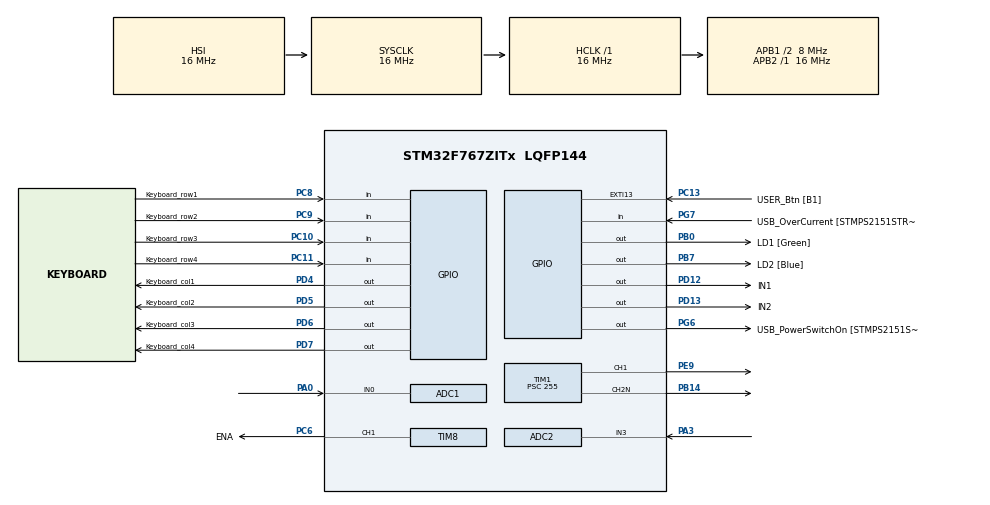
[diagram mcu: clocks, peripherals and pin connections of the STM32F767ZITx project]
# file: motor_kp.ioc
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ADC1.Channel-0\#ChannelRegularConversion=ADC_CHANNEL_0
ADC1.NbrOfConversionFlag=1
ADC1.Rank-0\#ChannelRegularConversion=1
ADC1.Resolution=ADC_RESOLUTION_12B
ADC1.SamplingTime-0\#ChannelRegularConversion=ADC_SAMPLETIME_3CYCLES
ADC1.master=1
ADC2.Channel-0\#ChannelRegularConversion=ADC_CHANNEL_3
ADC2.NbrOfConversionFlag=1
ADC2.Rank-0\#ChannelRegularConversion=1
ADC2.SamplingTime-0\#ChannelRegularConversion=ADC_SAMPLETIME_3CYCLES
Mcu.Family=STM32F7
Mcu.Name=STM32F767ZITx
Mcu.Package=LQFP144
NVIC.ADC_IRQn=true\:0\:0\:false\:false\:true\:true\:true\:true
NVIC.PriorityGroup=NVIC_PRIORITYGROUP_4
NVIC.TIM6_DAC_IRQn=true\:0\:0\:false\:false\:true\:true\:true\:true
PA0/WKUP.Signal=ADCx_IN0
PA1.GPIO_Label=RMII_REF_CLK [LAN8742A-CZ-TR_REFCLK0]
PA1.Signal=ETH_REF_CLK
PA10.GPIO_Label=USB_ID
PA10.Signal=USB_OTG_FS_ID
PA11.GPIO_Label=USB_DM
PA11.Signal=USB_OTG_FS_DM
PA12.GPIO_Label=USB_DP
PA12.Signal=USB_OTG_FS_DP
PA13.GPIO_Label=TMS
PA13.Signal=SYS_JTMS-SWDIO
PA14.GPIO_Label=TCK
PA14.Signal=SYS_JTCK-SWCLK
PA2.GPIO_Label=RMII_MDIO [LAN8742A-CZ-TR_MDIO]
PA2.Signal=ETH_MDIO
PA3.Signal=ADCx_IN3
PA7.GPIO_Label=RMII_CRS_DV [LAN8742A-CZ-TR_CRS_DV]
PA7.Signal=ETH_CRS_DV
PA8.GPIO_Label=USB_SOF [TP1]
PA8.Signal=USB_OTG_FS_SOF
PA9.GPIO_Label=USB_VBUS
PA9.Signal=USB_OTG_FS_VBUS
PB0.GPIO_Label=LD1 [Green]
PB0.PinState=GPIO_PIN_SET
PB0.Signal=GPIO_Output
PB14.Mode=PWM Generation2 CH2N
PB14.Signal=TIM1_CH2N
PB3.GPIO_Label=SW0
PB3.Signal=SYS_JTDO-SWO
PB7.GPIO_Label=LD2 [Blue]
PB7.Signal=GPIO_Output
PC1.GPIO_Label=RMII_MDC [LAN8742A-CZ-TR_MDC]
PC1.Signal=ETH_MDC
PC10.GPIO_Label=Keyboard_row3
PC10.Signal=GPIO_Input
PC11.GPIO_Label=Keyboard_row4
PC11.Signal=GPIO_Input
PC13.GPIO_Label=USER_Btn [B1]
PC13.Signal=GPXTI13
PC14/OSC32_IN.Signal=RCC_OSC32_IN
PC15/OSC32_OUT.Signal=RCC_OSC32_OUT
PC4.GPIO_Label=RMII_RXD0 [LAN8742A-CZ-TR_RXD0]
PC4.Signal=ETH_RXD0
PC5.GPIO_Label=RMII_RXD1 [LAN8742A-CZ-TR_RXD1]
PC5.Signal=ETH_RXD1
PC6.GPIO_Label=ENA
PC6.Signal=S_TIM8_CH1
PC8.GPIO_Label=Keyboard_row1
PC8.Signal=GPIO_Input
PC9.GPIO_Label=Keyboard_row2
PC9.Signal=GPIO_Input
PD12.GPIO_Label=IN1
PD12.Signal=GPIO_Output
PD13.GPIO_Label=IN2
PD13.Signal=GPIO_Output
PD4.GPIO_Label=Keyboard_col1
PD4.Signal=GPIO_Output
PD5.GPIO_Label=Keyboard_col2
PD5.Signal=GPIO_Output
PD6.GPIO_Label=Keyboard_col3
PD6.Signal=GPIO_Output
PD7.GPIO_Label=Keyboard_col4
PD7.Signal=GPIO_Output
PD8.GPIO_Label=STLK_RX [STM32F103CBT6_PA3]
PD8.Signal=USART3_TX
PD9.GPIO_Label=STLK_TX [STM32F103CBT6_PA2]
PD9.Signal=USART3_RX
PE9.Signal=S_TIM1_CH1
PG11.GPIO_Label=RMII_TX_EN [LAN8742A-CZ-TR_TXEN]
PG11.Signal=ETH_TX_EN
PG13.GPIO_Label=RMII_TXD0 [LAN8742A-CZ-TR_TXD0]
PG13.Signal=ETH_TXD0
PG6.GPIO_Label=USB_PowerSwitchOn [STMPS2151STR_EN]
PG6.Signal=GPIO_Output
PG7.GPIO_Label=USB_OverCurrent [STMPS2151STR_FAULT]
PG7.Signal=GPIO_Input
PH0/OSC_IN.GPIO_Label=MCO [STM32F103CBT6_PA8]
PH0/OSC_IN.Signal=RCC_OSC_IN
PH1/OSC_OUT.Signal=RCC_OSC_OUT
ProjectManager.HeapSize=0x200
ProjectManager.StackSize=0x400
ProjectManager.TargetToolchain=STM32CubeIDE
RCC.48MHZClocksFreq_Value=24000000
RCC.AHBFreq_Value=16000000
RCC.APB1CLKDivider=RCC_HCLK_DIV2
RCC.APB1Freq_Value=8000000
RCC.APB1TimFreq_Value=16000000
RCC.APB2Freq_Value=16000000
RCC.APB2TimFreq_Value=16000000
RCC.CortexFreq_Value=16000000
RCC.HCLKFreq_Value=16000000
RCC.HSE_VALUE=16000000
RCC.HSI_VALUE=16000000
RCC.LSE_VALUE=32768
RCC.PLLMUL=RCC_PLL_MUL9
RCC.PRESCALERUSB=RCC_USBCLKSOURCE_PLL_DIV1_5
RCC.SYSCLKFreq_VALUE=16000000
RCC.SYSCLKSourceVirtual=RCC_SYSCLKSOURCE_PLLCLK
RCC.USBFreq_Value=96000000
RCC.VCOOutputFreq_Value=192000000
SH.ADCx_IN0.0=ADC1_IN0,IN0
SH.ADCx_IN3.0=ADC2_IN3,IN3
SH.S_TIM1_CH1.0=TIM1_CH1,PWM Generation1 CH1
SH.S_TIM8_CH1.0=TIM8_CH1,PWM Generation1 CH1
TIM1.Channel-PWM\ Generation1\ CH1=TIM_CHANNEL_1
TIM1.Channel-PWM\ Generation2\ CH2N=TIM_CHANNEL_2
TIM1.Period=62499
TIM1.Prescaler=255
TIM6.Period=2000
TIM6.Prescaler=7999
TIM8.Channel-PWM\ Generation1\ CH1=TIM_CHANNEL_1
TIM8.Period=2000
TIM8.Prescaler=79
VP_TIM1_VS_ClockSourceINT.Mode=Internal
VP_TIM6_VS_ClockSourceINT.Mode=Enable_Timer
VP_TIM8_VS_ClockSourceINT.Mode=Internal
board=NUCLEO-F767ZI

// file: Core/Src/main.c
/* USER CODE BEGIN Header */
/**
  ******************************************************************************
  * @file           : main.c
  * @brief          : Main program body
  ******************************************************************************
  * @attention
  *
  * Copyright (c) 2024 STMicroelectronics.
  * All rights reserved.
  *
  * This software is licensed under terms that can be found in the LICENSE file
  * in the root directory of this software component.
  * If no LICENSE file comes with this software, it is provided AS-IS.
  *
  ******************************************************************************
  */
/* USER CODE END Header */
#include "main.h"

/* USER CODE BEGIN Includes */
extern num1;
/* USER CODE END Includes */

ADC_HandleTypeDef hadc1;
ADC_HandleTypeDef hadc2;

TIM_HandleTypeDef htim1;
TIM_HandleTypeDef htim6;
TIM_HandleTypeDef htim8;

/* USER CODE BEGIN PV */
uint32_t ADC_RES = 0; // Код АЦП
enum gear {
	engine = 10,
	p_mode = 11,
	r_mode = 12,
	d_mode = 13,
	d_safety_belt = 7,
	r_safety_belt = 8,
	recover_air_bag = 1,
	charge = 0
}state;

struct motor {
	unsigned int engine : 1;
	unsigned int p_mode : 1;
	unsigned int r_mode : 1;
	unsigned int d_mode : 1;
	unsigned int d_safety_belt : 1;
	unsigned int r_safety_belt : 1;
	unsigned int air_bag : 1;
	unsigned int charge : 1;
}state_motor;

int speed = 0;
int rpm = 0;

double rasst = 0;
/* USER CODE END PV */

void SystemClock_Config(void);
static void MX_GPIO_Init(void);
static void MX_ADC1_Init(void);
static void MX_TIM8_Init(void);
static void MX_TIM6_Init(void);
static void MX_ADC2_Init(void);
static void MX_TIM1_Init(void);

int main(void)
{

  /* MCU Configuration--------------------------------------------------------*/

  /* Reset of all peripherals, Initializes the Flash interface and the Systick. */
  HAL_Init();

  /* Configure the system clock */
  SystemClock_Config();

  /* Initialize all configured peripherals */
  MX_GPIO_Init();
  MX_ADC1_Init();
  MX_TIM8_Init();
  MX_TIM6_Init();
  MX_ADC2_Init();
  MX_TIM1_Init();
  /* USER CODE BEGIN 2 */
  HAL_TIM_Base_Start_IT(&htim6);
  HAL_TIM_PWM_Start(&htim8, TIM_CHANNEL_1);
  HAL_TIM_PWM_Start(&htim1, TIM_CHANNEL_1);
  TIM1->CCR2 = TIM1-> ARR/2;
  TIM1->CCR1 = TIM1-> ARR/2;
  HAL_GPIO_WritePin(IN1_GPIO_Port, IN1_Pin, 0);
  HAL_GPIO_WritePin(IN2_GPIO_Port, IN2_Pin, 0);
  state_motor.p_mode = 1;
  state_motor.air_bag = 1;
  /* USER CODE END 2 */

  /* Infinite loop */
  /* USER CODE BEGIN WHILE */

  while (1)
  {
	  state = keyboard_process();

	  switch (state){
			case engine:
				if (state_motor.p_mode == 1 && state_motor.charge == 0){
					state_motor.engine = !state_motor.engine;
					HAL_GPIO_TogglePin(LD2_GPIO_Port, LD2_Pin);
					//HAL_GPIO_TogglePin(IN1_GPIO_Port, IN1_Pin);
					//HAL_GPIO_WritePin(IN2_GPIO_Port, IN2_Pin, 0);
				}
				num1 = 5;
				break;
			case p_mode:
				if (state_motor.p_mode == 0 &&( state_motor.d_mode != 0 | state_motor.r_mode)){
					state_motor.p_mode = 1;
					HAL_GPIO_WritePin(IN1_GPIO_Port, IN1_Pin, 0);
					HAL_GPIO_WritePin(IN2_GPIO_Port, IN2_Pin, 0);
					state_motor.r_mode = 0;
					state_motor.d_mode = 0;
				}
				num1 = 5;
				break;
			case r_mode:
				if (state_motor.engine == 1){
					HAL_GPIO_WritePin(IN1_GPIO_Port, IN1_Pin, 0);
					HAL_GPIO_WritePin(IN2_GPIO_Port, IN2_Pin, 1);
					state_motor.p_mode = 0;
					state_motor.r_mode = 1;
					state_motor.d_mode = 0;
					state_motor.charge = 0;
				}
				num1 = 5;
				break;
			case d_mode:
				if (state_motor.engine == 1){
					HAL_GPIO_WritePin(IN1_GPIO_Port, IN1_Pin, 1);
					HAL_GPIO_WritePin(IN2_GPIO_Port, IN2_Pin, 0);
					state_motor.p_mode = 0;
					state_motor.d_mode = 1;
					state_motor.r_mode = 0;
					state_motor.charge = 0;
				}
				num1 = 5;
				break;
			case r_safety_belt:
				state_motor.r_safety_belt = !state_motor.r_safety_belt;
				num1 = 5;
				break;

			case d_safety_belt:
				state_motor.d_safety_belt = !state_motor.d_safety_belt;
				num1 = 5;
				break;
			case charge:
				if (state_motor.p_mode == 1 && state_motor.engine == 0){
					state_motor.charge = !state_motor.charge;
				}
				num1 = 5;
				break;
			case recover_air_bag:
				if (state_motor.engine == 0){
					state_motor.air_bag = 1;
				}
				num1 = 5;
				break;
	  }
	  adc_process();
	  podushka();
	  HAL_Delay(100);
    /* USER CODE END WHILE */

  }
}

void SystemClock_Config(void)
{
  RCC_OscInitTypeDef RCC_OscInitStruct = {0};
  RCC_ClkInitTypeDef RCC_ClkInitStruct = {0};

  /** Configure the main internal regulator output voltage
  */
  __HAL_RCC_PWR_CLK_ENABLE();
  __HAL_PWR_VOLTAGESCALING_CONFIG(PWR_REGULATOR_VOLTAGE_SCALE3);

  /** Initializes the RCC Oscillators according to the specified parameters
  * in the RCC_OscInitTypeDef structure.
  */
  RCC_OscInitStruct.OscillatorType = RCC_OSCILLATORTYPE_HSI;
  RCC_OscInitStruct.HSIState = RCC_HSI_ON;
  RCC_OscInitStruct.HSICalibrationValue = RCC_HSICALIBRATION_DEFAULT;
  RCC_OscInitStruct.PLL.PLLState = RCC_PLL_NONE;
  if (HAL_RCC_OscConfig(&RCC_OscInitStruct) != HAL_OK)
  {
    Error_Handler();
  }

  /** Initializes the CPU, AHB and APB buses clocks
  */
  RCC_ClkInitStruct.ClockType = RCC_CLOCKTYPE_HCLK|RCC_CLOCKTYPE_SYSCLK
                              |RCC_CLOCKTYPE_PCLK1|RCC_CLOCKTYPE_PCLK2;
  RCC_ClkInitStruct.SYSCLKSource = RCC_SYSCLKSOURCE_HSI;
  RCC_ClkInitStruct.AHBCLKDivider = RCC_SYSCLK_DIV1;
  RCC_ClkInitStruct.APB1CLKDivider = RCC_HCLK_DIV2;
  RCC_ClkInitStruct.APB2CLKDivider = RCC_HCLK_DIV1;

  if (HAL_RCC_ClockConfig(&RCC_ClkInitStruct, FLASH_LATENCY_0) != HAL_OK)
  {
    Error_Handler();
  }
}

static void MX_ADC1_Init(void)
{

  ADC_ChannelConfTypeDef sConfig = {0};

  /** Configure the global features of the ADC (Clock, Resolution, Data Alignment and number of conversion)
  */
  hadc1.Instance = ADC1;
  hadc1.Init.ClockPrescaler = ADC_CLOCK_SYNC_PCLK_DIV2;
  hadc1.Init.Resolution = ADC_RESOLUTION_12B;
  hadc1.Init.ScanConvMode = ADC_SCAN_DISABLE;
  hadc1.Init.ContinuousConvMode = DISABLE;
  hadc1.Init.DiscontinuousConvMode = DISABLE;
  hadc1.Init.ExternalTrigConvEdge = ADC_EXTERNALTRIGCONVEDGE_NONE;
  hadc1.Init.ExternalTrigConv = ADC_SOFTWARE_START;
  hadc1.Init.DataAlign = ADC_DATAALIGN_RIGHT;
  hadc1.Init.NbrOfConversion = 1;
  hadc1.Init.DMAContinuousRequests = DISABLE;
  hadc1.Init.EOCSelection = ADC_EOC_SINGLE_CONV;
  if (HAL_ADC_Init(&hadc1) != HAL_OK)
  {
    Error_Handler();
  }

  /** Configure for the selected ADC regular channel its corresponding rank in the sequencer and its sample time.
  */
  sConfig.Channel = ADC_CHANNEL_0;
  sConfig.Rank = ADC_REGULAR_RANK_1;
  sConfig.SamplingTime = ADC_SAMPLETIME_3CYCLES;
  if (HAL_ADC_ConfigChannel(&hadc1, &sConfig) != HAL_OK)
  {
    Error_Handler();
  }

}

static void MX_ADC2_Init(void)
{

  ADC_ChannelConfTypeDef sConfig = {0};

  /** Configure the global features of the ADC (Clock, Resolution, Data Alignment and number of conversion)
  */
  hadc2.Instance = ADC2;
  hadc2.Init.ClockPrescaler = ADC_CLOCK_SYNC_PCLK_DIV2;
  hadc2.Init.Resolution = ADC_RESOLUTION_12B;
  hadc2.Init.ScanConvMode = ADC_SCAN_DISABLE;
  hadc2.Init.ContinuousConvMode = DISABLE;
  hadc2.Init.DiscontinuousConvMode = DISABLE;
  hadc2.Init.ExternalTrigConvEdge = ADC_EXTERNALTRIGCONVEDGE_NONE;
  hadc2.Init.ExternalTrigConv = ADC_SOFTWARE_START;
  hadc2.Init.DataAlign = ADC_DATAALIGN_RIGHT;
  hadc2.Init.NbrOfConversion = 1;
  hadc2.Init.DMAContinuousRequests = DISABLE;
  hadc2.Init.EOCSelection = ADC_EOC_SINGLE_CONV;
  if (HAL_ADC_Init(&hadc2) != HAL_OK)
  {
    Error_Handler();
  }

  /** Configure for the selected ADC regular channel its corresponding rank in the sequencer and its sample time.
  */
  sConfig.Channel = ADC_CHANNEL_3;
  sConfig.Rank = ADC_REGULAR_RANK_1;
  sConfig.SamplingTime = ADC_SAMPLETIME_3CYCLES;
  if (HAL_ADC_ConfigChannel(&hadc2, &sConfig) != HAL_OK)
  {
    Error_Handler();
  }

}

static void MX_TIM1_Init(void)
{

  TIM_ClockConfigTypeDef sClockSourceConfig = {0};
  TIM_MasterConfigTypeDef sMasterConfig = {0};
  TIM_OC_InitTypeDef sConfigOC = {0};
  TIM_BreakDeadTimeConfigTypeDef sBreakDeadTimeConfig = {0};

  htim1.Instance = TIM1;
  htim1.Init.Prescaler = 255;
  htim1.Init.CounterMode = TIM_COUNTERMODE_UP;
  htim1.Init.Period = 62499;
  htim1.Init.ClockDivision = TIM_CLOCKDIVISION_DIV1;
  htim1.Init.RepetitionCounter = 0;
  htim1.Init.AutoReloadPreload = TIM_AUTORELOAD_PRELOAD_DISABLE;
  if (HAL_TIM_Base_Init(&htim1) != HAL_OK)
  {
    Error_Handler();
  }
  sClockSourceConfig.ClockSource = TIM_CLOCKSOURCE_INTERNAL;
  if (HAL_TIM_ConfigClockSource(&htim1, &sClockSourceConfig) != HAL_OK)
  {
    Error_Handler();
  }
  if (HAL_TIM_PWM_Init(&htim1) != HAL_OK)
  {
    Error_Handler();
  }
  sMasterConfig.MasterOutputTrigger = TIM_TRGO_RESET;
  sMasterConfig.MasterOutputTrigger2 = TIM_TRGO2_RESET;
  sMasterConfig.MasterSlaveMode = TIM_MASTERSLAVEMODE_DISABLE;
  if (HAL_TIMEx_MasterConfigSynchronization(&htim1, &sMasterConfig) != HAL_OK)
  {
    Error_Handler();
  }
  sConfigOC.OCMode = TIM_OCMODE_PWM1;
  sConfigOC.Pulse = 0;
  sConfigOC.OCPolarity = TIM_OCPOLARITY_HIGH;
  sConfigOC.OCNPolarity = TIM_OCNPOLARITY_HIGH;
  sConfigOC.OCFastMode = TIM_OCFAST_DISABLE;
  sConfigOC.OCIdleState = TIM_OCIDLESTATE_RESET;
  sConfigOC.OCNIdleState = TIM_OCNIDLESTATE_RESET;
  if (HAL_TIM_PWM_ConfigChannel(&htim1, &sConfigOC, TIM_CHANNEL_1) != HAL_OK)
  {
    Error_Handler();
  }
  if (HAL_TIM_PWM_ConfigChannel(&htim1, &sConfigOC, TIM_CHANNEL_2) != HAL_OK)
  {
    Error_Handler();
  }
  sBreakDeadTimeConfig.OffStateRunMode = TIM_OSSR_DISABLE;
  sBreakDeadTimeConfig.OffStateIDLEMode = TIM_OSSI_DISABLE;
  sBreakDeadTimeConfig.LockLevel = TIM_LOCKLEVEL_OFF;
  sBreakDeadTimeConfig.DeadTime = 0;
  sBreakDeadTimeConfig.BreakState = TIM_BREAK_DISABLE;
  sBreakDeadTimeConfig.BreakPolarity = TIM_BREAKPOLARITY_HIGH;
  sBreakDeadTimeConfig.BreakFilter = 0;
  sBreakDeadTimeConfig.Break2State = TIM_BREAK2_DISABLE;
  sBreakDeadTimeConfig.Break2Polarity = TIM_BREAK2POLARITY_HIGH;
  sBreakDeadTimeConfig.Break2Filter = 0;
  sBreakDeadTimeConfig.AutomaticOutput = TIM_AUTOMATICOUTPUT_DISABLE;
  if (HAL_TIMEx_ConfigBreakDeadTime(&htim1, &sBreakDeadTimeConfig) != HAL_OK)
  {
    Error_Handler();
  }
  HAL_TIM_MspPostInit(&htim1);

}

static void MX_TIM6_Init(void)
{

  TIM_MasterConfigTypeDef sMasterConfig = {0};

  htim6.Instance = TIM6;
  htim6.Init.Prescaler = 7999;
  htim6.Init.CounterMode = TIM_COUNTERMODE_UP;
  htim6.Init.Period = 2000;
  htim6.Init.AutoReloadPreload = TIM_AUTORELOAD_PRELOAD_DISABLE;
  if (HAL_TIM_Base_Init(&htim6) != HAL_OK)
  {
    Error_Handler();
  }
  sMasterConfig.MasterOutputTrigger = TIM_TRGO_RESET;
  sMasterConfig.MasterSlaveMode = TIM_MASTERSLAVEMODE_DISABLE;
  if (HAL_TIMEx_MasterConfigSynchronization(&htim6, &sMasterConfig) != HAL_OK)
  {
    Error_Handler();
  }

}

static void MX_TIM8_Init(void)
{

  TIM_ClockConfigTypeDef sClockSourceConfig = {0};
  TIM_MasterConfigTypeDef sMasterConfig = {0};
  TIM_OC_InitTypeDef sConfigOC = {0};
  TIM_BreakDeadTimeConfigTypeDef sBreakDeadTimeConfig = {0};

  htim8.Instance = TIM8;
  htim8.Init.Prescaler = 79;
  htim8.Init.CounterMode = TIM_COUNTERMODE_UP;
  htim8.Init.Period = 2000;
  htim8.Init.ClockDivision = TIM_CLOCKDIVISION_DIV1;
  htim8.Init.RepetitionCounter = 0;
  htim8.Init.AutoReloadPreload = TIM_AUTORELOAD_PRELOAD_DISABLE;
  if (HAL_TIM_Base_Init(&htim8) != HAL_OK)
  {
    Error_Handler();
  }
  sClockSourceConfig.ClockSource = TIM_CLOCKSOURCE_INTERNAL;
  if (HAL_TIM_ConfigClockSource(&htim8, &sClockSourceConfig) != HAL_OK)
  {
    Error_Handler();
  }
  if (HAL_TIM_PWM_Init(&htim8) != HAL_OK)
  {
    Error_Handler();
  }
  sMasterConfig.MasterOutputTrigger = TIM_TRGO_RESET;
  sMasterConfig.MasterOutputTrigger2 = TIM_TRGO2_RESET;
  sMasterConfig.MasterSlaveMode = TIM_MASTERSLAVEMODE_DISABLE;
  if (HAL_TIMEx_MasterConfigSynchronization(&htim8, &sMasterConfig) != HAL_OK)
  {
    Error_Handler();
  }
  sConfigOC.OCMode = TIM_OCMODE_PWM1;
  sConfigOC.Pulse = 0;
  sConfigOC.OCPolarity = TIM_OCPOLARITY_HIGH;
  sConfigOC.OCNPolarity = TIM_OCNPOLARITY_HIGH;
  sConfigOC.OCFastMode = TIM_OCFAST_DISABLE;
  sConfigOC.OCIdleState = TIM_OCIDLESTATE_RESET;
  sConfigOC.OCNIdleState = TIM_OCNIDLESTATE_RESET;
  if (HAL_TIM_PWM_ConfigChannel(&htim8, &sConfigOC, TIM_CHANNEL_1) != HAL_OK)
  {
    Error_Handler();
  }
  sBreakDeadTimeConfig.OffStateRunMode = TIM_OSSR_DISABLE;
  sBreakDeadTimeConfig.OffStateIDLEMode = TIM_OSSI_DISABLE;
  sBreakDeadTimeConfig.LockLevel = TIM_LOCKLEVEL_OFF;
  sBreakDeadTimeConfig.DeadTime = 0;
  sBreakDeadTimeConfig.BreakState = TIM_BREAK_DISABLE;
  sBreakDeadTimeConfig.BreakPolarity = TIM_BREAKPOLARITY_HIGH;
  sBreakDeadTimeConfig.BreakFilter = 0;
  sBreakDeadTimeConfig.Break2State = TIM_BREAK2_DISABLE;
  sBreakDeadTimeConfig.Break2Polarity = TIM_BREAK2POLARITY_HIGH;
  sBreakDeadTimeConfig.Break2Filter = 0;
  sBreakDeadTimeConfig.AutomaticOutput = TIM_AUTOMATICOUTPUT_DISABLE;
  if (HAL_TIMEx_ConfigBreakDeadTime(&htim8, &sBreakDeadTimeConfig) != HAL_OK)
  {
    Error_Handler();
  }
  HAL_TIM_MspPostInit(&htim8);

}

static void MX_GPIO_Init(void)
{
  GPIO_InitTypeDef GPIO_InitStruct = {0};

  /* GPIO Ports Clock Enable */
  __HAL_RCC_GPIOC_CLK_ENABLE();
  __HAL_RCC_GPIOH_CLK_ENABLE();
  __HAL_RCC_GPIOA_CLK_ENABLE();
  __HAL_RCC_GPIOB_CLK_ENABLE();
  __HAL_RCC_GPIOE_CLK_ENABLE();
  __HAL_RCC_GPIOD_CLK_ENABLE();
  __HAL_RCC_GPIOG_CLK_ENABLE();

  /*Configure GPIO pin Output Level */
  HAL_GPIO_WritePin(LD1_GPIO_Port, LD1_Pin, GPIO_PIN_SET);

  /*Configure GPIO pin Output Level */
  HAL_GPIO_WritePin(GPIOD, IN1_Pin|IN2_Pin|Keyboard_col1_Pin|Keyboard_col2_Pin
                          |Keyboard_col3_Pin|Keyboard_col4_Pin, GPIO_PIN_RESET);

  /*Configure GPIO pin Output Level */
  HAL_GPIO_WritePin(USB_PowerSwitchOn_GPIO_Port, USB_PowerSwitchOn_Pin, GPIO_PIN_RESET);

  /*Configure GPIO pin Output Level */
  HAL_GPIO_WritePin(LD2_GPIO_Port, LD2_Pin, GPIO_PIN_RESET);

  /*Configure GPIO pin : USER_Btn_Pin */
  GPIO_InitStruct.Pin = USER_Btn_Pin;
  GPIO_InitStruct.Mode = GPIO_MODE_IT_RISING;
  GPIO_InitStruct.Pull = GPIO_NOPULL;
  HAL_GPIO_Init(USER_Btn_GPIO_Port, &GPIO_InitStruct);

  /*Configure GPIO pins : RMII_MDC_Pin RMII_RXD0_Pin RMII_RXD1_Pin */
  GPIO_InitStruct.Pin = RMII_MDC_Pin|RMII_RXD0_Pin|RMII_RXD1_Pin;
  GPIO_InitStruct.Mode = GPIO_MODE_AF_PP;
  GPIO_InitStruct.Pull = GPIO_NOPULL;
  GPIO_InitStruct.Speed = GPIO_SPEED_FREQ_VERY_HIGH;
  GPIO_InitStruct.Alternate = GPIO_AF11_ETH;
  HAL_GPIO_Init(GPIOC, &GPIO_InitStruct);

  /*Configure GPIO pins : RMII_REF_CLK_Pin RMII_MDIO_Pin RMII_CRS_DV_Pin */
  GPIO_InitStruct.Pin = RMII_REF_CLK_Pin|RMII_MDIO_Pin|RMII_CRS_DV_Pin;
  GPIO_InitStruct.Mode = GPIO_MODE_AF_PP;
  GPIO_InitStruct.Pull = GPIO_NOPULL;
  GPIO_InitStruct.Speed = GPIO_SPEED_FREQ_VERY_HIGH;
  GPIO_InitStruct.Alternate = GPIO_AF11_ETH;
  HAL_GPIO_Init(GPIOA, &GPIO_InitStruct);

  /*Configure GPIO pins : LD1_Pin LD2_Pin */
  GPIO_InitStruct.Pin = LD1_Pin|LD2_Pin;
  GPIO_InitStruct.Mode = GPIO_MODE_OUTPUT_PP;
  GPIO_InitStruct.Pull = GPIO_NOPULL;
  GPIO_InitStruct.Speed = GPIO_SPEED_FREQ_LOW;
  HAL_GPIO_Init(GPIOB, &GPIO_InitStruct);

  /*Configure GPIO pins : STLK_RX_Pin STLK_TX_Pin */
  GPIO_InitStruct.Pin = STLK_RX_Pin|STLK_TX_Pin;
  GPIO_InitStruct.Mode = GPIO_MODE_AF_PP;
  GPIO_InitStruct.Pull = GPIO_NOPULL;
  GPIO_InitStruct.Speed = GPIO_SPEED_FREQ_VERY_HIGH;
  GPIO_InitStruct.Alternate = GPIO_AF7_USART3;
  HAL_GPIO_Init(GPIOD, &GPIO_InitStruct);

  /*Configure GPIO pins : IN1_Pin IN2_Pin Keyboard_col1_Pin Keyboard_col2_Pin
                           Keyboard_col3_Pin Keyboard_col4_Pin */
  GPIO_InitStruct.Pin = IN1_Pin|IN2_Pin|Keyboard_col1_Pin|Keyboard_col2_Pin
                          |Keyboard_col3_Pin|Keyboard_col4_Pin;
  GPIO_InitStruct.Mode = GPIO_MODE_OUTPUT_PP;
  GPIO_InitStruct.Pull = GPIO_NOPULL;
  GPIO_InitStruct.Speed = GPIO_SPEED_FREQ_LOW;
  HAL_GPIO_Init(GPIOD, &GPIO_InitStruct);

  /*Configure GPIO pin : USB_PowerSwitchOn_Pin */
  GPIO_InitStruct.Pin = USB_PowerSwitchOn_Pin;
  GPIO_InitStruct.Mode = GPIO_MODE_OUTPUT_PP;
  GPIO_InitStruct.Pull = GPIO_NOPULL;
  GPIO_InitStruct.Speed = GPIO_SPEED_FREQ_LOW;
  HAL_GPIO_Init(USB_PowerSwitchOn_GPIO_Port, &GPIO_InitStruct);

  /*Configure GPIO pin : USB_OverCurrent_Pin */
  GPIO_InitStruct.Pin = USB_OverCurrent_Pin;
  GPIO_InitStruct.Mode = GPIO_MODE_INPUT;
  GPIO_InitStruct.Pull = GPIO_NOPULL;
  HAL_GPIO_Init(USB_OverCurrent_GPIO_Port, &GPIO_InitStruct);

  /*Configure GPIO pins : Keyboard_row1_Pin Keyboard_row2_Pin Keyboard_row3_Pin Keyboard_row4_Pin */
  GPIO_InitStruct.Pin = Keyboard_row1_Pin|Keyboard_row2_Pin|Keyboard_row3_Pin|Keyboard_row4_Pin;
  GPIO_InitStruct.Mode = GPIO_MODE_INPUT;
  GPIO_InitStruct.Pull = GPIO_NOPULL;
  HAL_GPIO_Init(GPIOC, &GPIO_InitStruct);

  /*Configure GPIO pins : USB_SOF_Pin USB_ID_Pin USB_DM_Pin USB_DP_Pin */
  GPIO_InitStruct.Pin = USB_SOF_Pin|USB_ID_Pin|USB_DM_Pin|USB_DP_Pin;
  GPIO_InitStruct.Mode = GPIO_MODE_AF_PP;
  GPIO_InitStruct.Pull = GPIO_NOPULL;
  GPIO_InitStruct.Speed = GPIO_SPEED_FREQ_VERY_HIGH;
  GPIO_InitStruct.Alternate = GPIO_AF10_OTG_FS;
  HAL_GPIO_Init(GPIOA, &GPIO_InitStruct);

  /*Configure GPIO pin : USB_VBUS_Pin */
  GPIO_InitStruct.Pin = USB_VBUS_Pin;
  GPIO_InitStruct.Mode = GPIO_MODE_INPUT;
  GPIO_InitStruct.Pull = GPIO_NOPULL;
  HAL_GPIO_Init(USB_VBUS_GPIO_Port, &GPIO_InitStruct);

  /*Configure GPIO pins : RMII_TX_EN_Pin RMII_TXD0_Pin */
  GPIO_InitStruct.Pin = RMII_TX_EN_Pin|RMII_TXD0_Pin;
  GPIO_InitStruct.Mode = GPIO_MODE_AF_PP;
  GPIO_InitStruct.Pull = GPIO_NOPULL;
  GPIO_InitStruct.Speed = GPIO_SPEED_FREQ_VERY_HIGH;
  GPIO_InitStruct.Alternate = GPIO_AF11_ETH;
  HAL_GPIO_Init(GPIOG, &GPIO_InitStruct);

}

/* USER CODE BEGIN 4 */
void adc_process(){
	  // Начало преобразования в АЦП1 для Encoder
	   HAL_ADC_Start(&hadc1);
	   // Ожидание окончания преобразования
	   HAL_ADC_PollForConversion(&hadc1, 1);
	   // Считывание кода с АЦП
	   ADC_RES = HAL_ADC_GetValue(&hadc1);
	   // Остановка работы АЦП
	   HAL_ADC_Stop(&hadc1);

	   if ((state_motor.r_safety_belt == 0 | state_motor.d_safety_belt == 0)&& speed == 0){
		   speed = 0;
		   TIM8->CCR1=speed;
	   }
	   else if (state_motor.d_mode == 1){
	   	   speed = ADC_RES/20.475;
	   	   rpm = 1000 + speed*30;
	   	   TIM8->CCR1=speed*20.475;
	   }else if (state_motor.r_mode == 1){
		   speed = ADC_RES/68.25;
		   rpm = 1000 + speed*100;
		   TIM8->CCR1=speed*20.475;
	   }else if (state_motor.p_mode == 1){
		   speed = 0;
		   if (state_motor.engine){
			   rpm = 1000;
		   }
		   else if (state_motor.engine == 0){
			   rpm = 0;
		   }
		   TIM8->CCR1=speed;
	   }
	   else {
		   TIM8->CCR1=speed;
	   }

	// Начало преобразования в АЦП1 для Encoder
	HAL_ADC_Start(&hadc2);
	// Ожидание окончания преобразования
	HAL_ADC_PollForConversion(&hadc2, 1);
	// Считывание кода с АЦП
	ADC_RES = HAL_ADC_GetValue(&hadc2);
	// Остановка работы АЦП
	HAL_ADC_Stop(&hadc2);

	rasst = (21.43*4095)/(3.3*ADC_RES);

	if (rasst <=50 && rasst > 30){
		TIM1->PSC= 255;
		TIM1->ARR = 62499;
	}else if (rasst <= 30 && rasst > 15){
		TIM1->PSC= 127;
		TIM1->ARR = 62499;
	}else if (rasst <= 15 && rasst > 0){
		TIM1->PSC= 31;
		TIM1->ARR = 49999;
	}else {
		TIM1->PSC= 0;
		TIM1->ARR = 0;
	}
}

void podushka (){
	if (state_motor.air_bag == 1){
		if (rasst < 15){
			  state_motor.engine = 0;
			  state_motor.p_mode = 1;
			  state_motor.r_mode = 0;
			  state_motor.d_mode = 0;
			  state_motor.air_bag = 0;
		}
	}
}
/* USER CODE END 4 */

void Error_Handler(void)
{
  __disable_irq();
  while (1)
  {
  }
}
